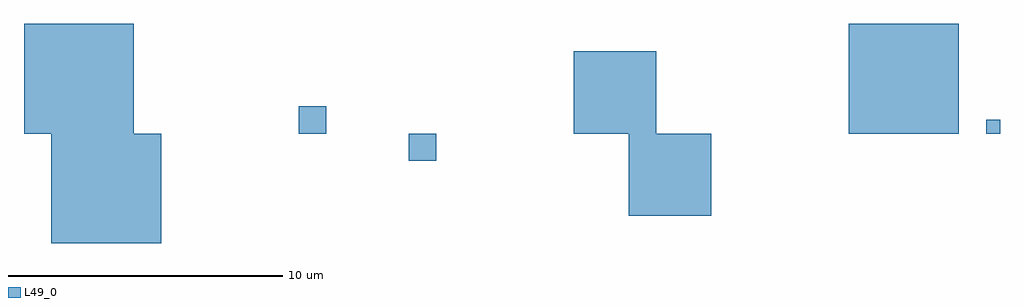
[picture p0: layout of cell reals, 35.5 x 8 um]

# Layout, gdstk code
import gdstk
lib = gdstk.Library(unit=1e-6, precision=1e-09)
def R(c, l, rs):  # rectangles x0, y0, x1, y1
    for r in rs: c.add(gdstk.rectangle(r[:2], r[2:], *l))
L49_0 = (49, 0)

c_c = lib.new_cell('c')
R(c_c, L49_0, [(0,0,2,2)])

reals = lib.new_cell('reals')
reals.add(gdstk.Reference(c_c, (0,0), magnification=2))
reals.add(gdstk.Reference(c_c, (5,0), magnification=-2))
reals.add(gdstk.Reference(c_c, (10,0), magnification=0.5))
reals.add(gdstk.Reference(c_c, (15,0), magnification=-0.5))
reals.add(gdstk.Reference(c_c, (20,0), magnification=1.5))
reals.add(gdstk.Reference(c_c, (25,0), magnification=-1.5))
reals.add(gdstk.Reference(c_c, (30,0), magnification=2))
reals.add(gdstk.Reference(c_c, (35,0), magnification=0.25))

lib.write_gds('reals.gds')
